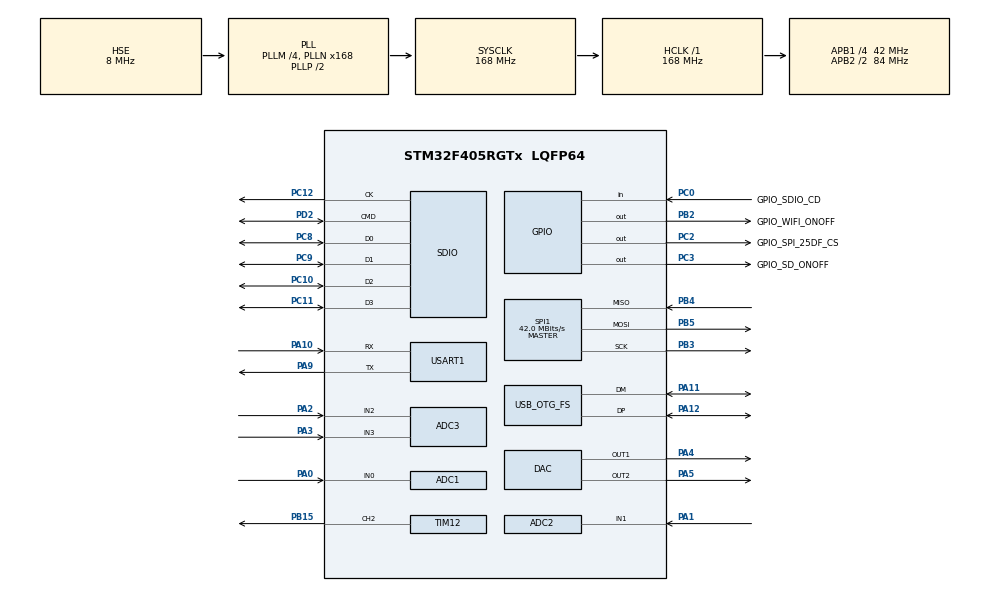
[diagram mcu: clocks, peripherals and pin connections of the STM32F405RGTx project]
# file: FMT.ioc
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ADC1.Channel-0\#ChannelRegularConversion=ADC_CHANNEL_0
ADC1.ClockPrescaler=ADC_CLOCK_SYNC_PCLK_DIV4
ADC1.ContinuousConvMode=DISABLE
ADC1.DMAContinuousRequests=ENABLE
ADC1.DataAlign=ADC_DATAALIGN_RIGHT
ADC1.DiscontinuousConvMode=DISABLE
ADC1.EOCSelection=ADC_EOC_SINGLE_CONV
ADC1.EnableAnalogWatchDog=false
ADC1.ExternalTrigConv=ADC_EXTERNALTRIGCONV_T2_TRGO
ADC1.ExternalTrigConvEdge=ADC_EXTERNALTRIGCONVEDGE_RISING
ADC1.InjNumberOfConversion=0
ADC1.NbrOfConversion=1
ADC1.NbrOfConversionFlag=1
ADC1.Rank-0\#ChannelRegularConversion=1
ADC1.Resolution=ADC_RESOLUTION_12B
ADC1.SamplingTime-0\#ChannelRegularConversion=ADC_SAMPLETIME_3CYCLES
ADC1.ScanConvMode=DISABLE
ADC1.master=1
ADC2.Channel-0\#ChannelRegularConversion=ADC_CHANNEL_1
ADC2.ClockPrescaler=ADC_CLOCK_SYNC_PCLK_DIV4
ADC2.ContinuousConvMode=DISABLE
ADC2.DMAContinuousRequests=ENABLE
ADC2.DataAlign=ADC_DATAALIGN_RIGHT
ADC2.DiscontinuousConvMode=DISABLE
ADC2.EOCSelection=ADC_EOC_SINGLE_CONV
ADC2.EnableAnalogWatchDog=false
ADC2.ExternalTrigConv=ADC_EXTERNALTRIGCONV_T2_TRGO
ADC2.ExternalTrigConvEdge=ADC_EXTERNALTRIGCONVEDGE_RISING
ADC2.InjNumberOfConversion=0
ADC2.NbrOfConversion=1
ADC2.NbrOfConversionFlag=1
ADC2.Rank-0\#ChannelRegularConversion=1
ADC2.Resolution=ADC_RESOLUTION_12B
ADC2.SamplingTime-0\#ChannelRegularConversion=ADC_SAMPLETIME_3CYCLES
ADC2.ScanConvMode=DISABLE
ADC3.Channel-0\#ChannelRegularConversion=ADC_CHANNEL_2
ADC3.ContinuousConvMode=ENABLE
ADC3.DMAContinuousRequests=DISABLE
ADC3.ExternalTrigConvEdge=ADC_EXTERNALTRIGCONVEDGE_NONE
ADC3.NbrOfConversionFlag=1
ADC3.Rank-0\#ChannelRegularConversion=1
ADC3.SamplingTime-0\#ChannelRegularConversion=ADC_SAMPLETIME_3CYCLES
DAC.DAC_OutputBuffer=DAC_OUTPUTBUFFER_ENABLE
DAC.DAC_OutputBuffer2=DAC_OUTPUTBUFFER_ENABLE
Dma.ADC1.0.Direction=DMA_PERIPH_TO_MEMORY
Dma.ADC1.0.FIFOMode=DMA_FIFOMODE_DISABLE
Dma.ADC1.0.Instance=DMA2_Stream0
Dma.ADC1.0.MemDataAlignment=DMA_MDATAALIGN_HALFWORD
Dma.ADC1.0.MemInc=DMA_MINC_ENABLE
Dma.ADC1.0.Mode=DMA_CIRCULAR
Dma.ADC1.0.PeriphDataAlignment=DMA_PDATAALIGN_HALFWORD
Dma.ADC1.0.PeriphInc=DMA_PINC_DISABLE
Dma.ADC1.0.Priority=DMA_PRIORITY_HIGH
Dma.ADC2.1.Direction=DMA_PERIPH_TO_MEMORY
Dma.ADC2.1.FIFOMode=DMA_FIFOMODE_DISABLE
Dma.ADC2.1.Instance=DMA2_Stream2
Dma.ADC2.1.MemDataAlignment=DMA_MDATAALIGN_HALFWORD
Dma.ADC2.1.MemInc=DMA_MINC_ENABLE
Dma.ADC2.1.Mode=DMA_CIRCULAR
Dma.ADC2.1.PeriphDataAlignment=DMA_PDATAALIGN_HALFWORD
Dma.ADC2.1.PeriphInc=DMA_PINC_DISABLE
Dma.ADC2.1.Priority=DMA_PRIORITY_HIGH
Dma.Request0=ADC1
Dma.Request1=ADC2
FATFS._CODE_PAGE=1252
FATFS._FS_NORTC=0
FATFS._MAX_SS=4096
FATFS._USE_FIND=1
FATFS._USE_LFN=1
Mcu.Family=STM32F4
Mcu.Name=STM32F405RGTx
Mcu.Package=LQFP64
NVIC.DMA2_Stream0_IRQn=true\:0\:0\:false\:false\:true
NVIC.DMA2_Stream2_IRQn=true\:0\:0\:false\:false\:true
NVIC.OTG_FS_IRQn=true\:0\:0\:false\:false\:true
NVIC.PriorityGroup=NVIC_PRIORITYGROUP_4
NVIC.USART1_IRQn=true\:0\:0\:false\:false\:true
PA0-WKUP.Signal=ADCx_IN0
PA1.Signal=ADCx_IN1
PA10.Mode=Asynchronous
PA10.Signal=USART1_RX
PA11.Mode=Device_Only
PA11.Signal=USB_OTG_FS_DM
PA12.Mode=Device_Only
PA12.Signal=USB_OTG_FS_DP
PA13.Mode=Serial_Wire
PA13.Signal=SYS_JTMS-SWDIO
PA14.Mode=Serial_Wire
PA14.Signal=SYS_JTCK-SWCLK
PA2.Signal=ADCx_IN2
PA3.Signal=ADCx_IN3
PA4.Signal=COMP_DAC1_group
PA5.Signal=COMP_DAC2_group
PA9.Mode=Asynchronous
PA9.Signal=USART1_TX
PB15.Signal=S_TIM12_CH2
PB2.GPIO_Label=GPIO_WIFI_ONOFF
PB2.GPIO_Speed=GPIO_SPEED_FREQ_VERY_HIGH
PB2.Signal=GPIO_Output
PB3.Mode=Full_Duplex_Master
PB3.Signal=SPI1_SCK
PB4.Mode=Full_Duplex_Master
PB4.Signal=SPI1_MISO
PB5.Mode=Full_Duplex_Master
PB5.Signal=SPI1_MOSI
PC0.GPIO_Label=GPIO_SDIO_CD
PC0.GPIO_PuPd=GPIO_PULLUP
PC0.Signal=GPIO_Input
PC10.Mode=SD_4_bits_Wide_bus
PC10.Signal=SDIO_D2
PC11.Mode=SD_4_bits_Wide_bus
PC11.Signal=SDIO_D3
PC12.Mode=SD_4_bits_Wide_bus
PC12.Signal=SDIO_CK
PC14-OSC32_IN.Mode=LSE-External-Oscillator
PC14-OSC32_IN.Signal=RCC_OSC32_IN
PC15-OSC32_OUT.Mode=LSE-External-Oscillator
PC15-OSC32_OUT.Signal=RCC_OSC32_OUT
PC2.GPIO_Label=GPIO_SPI_25DF_CS
PC2.GPIO_Speed=GPIO_SPEED_FREQ_VERY_HIGH
PC2.PinState=GPIO_PIN_SET
PC2.Signal=GPIO_Output
PC3.GPIO_Label=GPIO_SD_ONOFF
PC3.GPIO_Speed=GPIO_SPEED_FREQ_VERY_HIGH
PC3.PinState=GPIO_PIN_SET
PC3.Signal=GPIO_Output
PC8.Mode=SD_4_bits_Wide_bus
PC8.Signal=SDIO_D0
PC9.Mode=SD_4_bits_Wide_bus
PC9.Signal=SDIO_D1
PD2.Mode=SD_4_bits_Wide_bus
PD2.Signal=SDIO_CMD
PH0-OSC_IN.Mode=HSE-External-Oscillator
PH0-OSC_IN.Signal=RCC_OSC_IN
PH1-OSC_OUT.Mode=HSE-External-Oscillator
PH1-OSC_OUT.Signal=RCC_OSC_OUT
ProjectManager.HeapSize=0x1200
ProjectManager.StackSize=0x1400
ProjectManager.TargetToolchain=EWARM
RCC.48MHZClocksFreq_Value=48000000
RCC.AHBFreq_Value=168000000
RCC.APB1CLKDivider=RCC_HCLK_DIV4
RCC.APB1Freq_Value=42000000
RCC.APB1TimFreq_Value=84000000
RCC.APB2CLKDivider=RCC_HCLK_DIV2
RCC.APB2Freq_Value=84000000
RCC.APB2TimFreq_Value=168000000
RCC.CortexFreq_Value=168000000
RCC.HCLKFreq_Value=168000000
RCC.HSE_VALUE=8000000
RCC.HSI_VALUE=16000000
RCC.PLLM=4
RCC.PLLN=168
RCC.PLLQ=7
RCC.SYSCLKFreq_VALUE=168000000
RCC.SYSCLKSource=RCC_SYSCLKSOURCE_PLLCLK
RCC.VCOOutputFreq_Value=336000000
RTC.Format=RTC_FORMAT_BCD
RTC.Month=RTC_MONTH_DECEMBER
RTC.Year=16
SDIO.BusWide=SDIO_BUS_WIDE_1B
SDIO.ClockDiv=2
SDIO.WideMode=SDIO_BUS_WIDE_4B
SH.ADCx_IN0.0=ADC1_IN0,IN0
SH.ADCx_IN1.0=ADC2_IN1,IN1
SH.ADCx_IN2.0=ADC3_IN2,IN2
SH.ADCx_IN3.0=ADC3_IN3,IN3
SH.COMP_DAC1_group.0=DAC_OUT1,DAC_OUT1
SH.COMP_DAC2_group.0=DAC_OUT2,DAC_OUT2
SH.S_TIM12_CH2.0=TIM12_CH2,PWM Generation2 CH2
SPI1.CalculateBaudRate=42.0 MBits/s
SPI1.Mode=SPI_MODE_MASTER
TIM12.Channel-PWM\ Generation2\ CH2=TIM_CHANNEL_2
TIM12.Period=100
TIM12.Prescaler=839
TIM12.Pulse-PWM\ Generation2\ CH2=25
TIM2.Period=10000
TIM2.Prescaler=16800
TIM2.TIM_MasterOutputTrigger=TIM_TRGO_UPDATE
TIM2.TIM_MasterSlaveMode=TIM_MASTERSLAVEMODE_DISABLE
USB_DEVICE.CLASS_NAME-CDC_FS=CDC
USB_DEVICE.CLASS_NAME_FS=CDC
USB_DEVICE.MANUFACTURER_STRING-CDC_FS=iv trigotoram
USB_DEVICE.PRODUCT_STRING_CDC_FS=FMTdev
USB_DEVICE.SERIALNUMBER_STRING_CDC_FS=00000000001B
USB_DEVICE.USBD_HandleTypeDef-CDC_FS=hUsbDeviceFS
USB_DEVICE.VirtualMode-CDC_FS=Cdc
USB_DEVICE.VirtualModeFS=Cdc_FS
USB_OTG_FS.VirtualMode=Device_Only
USB_OTG_FS.vbus_sensing_enable=DISABLE
VP_CRC_VS_CRC.Mode=CRC_Activate
VP_FATFS_VS_SDIO.Mode=SDIO
VP_RTC_VS_RTC_Activate.Mode=RTC_Enabled
VP_RTC_VS_RTC_Alarm_A_Intern.Mode=Alarm A
VP_RTC_VS_RTC_Calendar.Mode=RTC_Calendar
VP_TIM12_VS_ClockSourceINT.Mode=Internal
VP_TIM2_VS_ClockSourceINT.Mode=Internal
VP_USB_DEVICE_VS_USB_DEVICE_CDC_FS.Mode=CDC_FS
board=FMT

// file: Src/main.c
/**
  ******************************************************************************
  * File Name          : main.c
  * Description        : Main program body
  ******************************************************************************
  *
  * Copyright (c) 2016 STMicroelectronics International N.V.
  * All rights reserved.
  *
  * Redistribution and use in source and binary forms, with or without
  * modification, are permitted, provided that the following conditions are met:
  *
  * 1. Redistribution of source code must retain the above copyright notice,
  *    this list of conditions and the following disclaimer.
  * 2. Redistributions in binary form must reproduce the above copyright notice,
  *    this list of conditions and the following disclaimer in the documentation
  *    and/or other materials provided with the distribution.
  * 3. Neither the name of STMicroelectronics nor the names of other
  *    contributors to this software may be used to endorse or promote products
  *    derived from this software without specific written permission.
  * 4. This software, including modifications and/or derivative works of this
  *    software, must execute solely and exclusively on microcontroller or
  *    microprocessor devices manufactured by or for STMicroelectronics.
  * 5. Redistribution and use of this software other than as permitted under
  *    this license is void and will automatically terminate your rights under
  *    this license.
  *
  * THIS SOFTWARE IS PROVIDED BY STMICROELECTRONICS AND CONTRIBUTORS "AS IS"
  * AND ANY EXPRESS, IMPLIED OR STATUTORY WARRANTIES, INCLUDING, BUT NOT
  * LIMITED TO, THE IMPLIED WARRANTIES OF MERCHANTABILITY, FITNESS FOR A
  * PARTICULAR PURPOSE AND NON-INFRINGEMENT OF THIRD PARTY INTELLECTUAL PROPERTY
  * RIGHTS ARE DISCLAIMED TO THE FULLEST EXTENT PERMITTED BY LAW. IN NO EVENT
  * SHALL STMICROELECTRONICS OR CONTRIBUTORS BE LIABLE FOR ANY DIRECT, INDIRECT,
  * INCIDENTAL, SPECIAL, EXEMPLARY, OR CONSEQUENTIAL DAMAGES (INCLUDING, BUT NOT
  * LIMITED TO, PROCUREMENT OF SUBSTITUTE GOODS OR SERVICES; LOSS OF USE, DATA,
  * OR PROFITS; OR BUSINESS INTERRUPTION) HOWEVER CAUSED AND ON ANY THEORY OF
  * LIABILITY, WHETHER IN CONTRACT, STRICT LIABILITY, OR TORT (INCLUDING
  * NEGLIGENCE OR OTHERWISE) ARISING IN ANY WAY OUT OF THE USE OF THIS SOFTWARE,
  * EVEN IF ADVISED OF THE POSSIBILITY OF SUCH DAMAGE.
  *
  ******************************************************************************
  */
#include "main.h"
#include "stm32f4xx_hal.h"
#include "fatfs.h"
#include "usb_device.h"

/* USER CODE BEGIN Includes */
#include "board.h"
#include "xprintf.h"
#include "conv.h"
#include "debug.h"
#include "ff.h"
FIL file_test;
FRESULT result;
FATFS FATFS_obj;
uint32_t str_size;
static const char file_name [] = "ADC_RAW_DATA.bin";
char _str [256];
char ch [256];
uint32_t tmpu32 = 0;
uint16_t tmpu16;

uint32_t test_core_ticks_new, test_core_ticks_old = 0;
uint32_t test_total_time_remain = 0;

UINT frcnt, fwcnt;         // счетчик записи файла
uint32_t ready_to_close = 0;
//#define show_message(a,b)

#include "modParser.h"
#include "_FIFO.h"

volatile static const uint16_t compile_date []    = { 2016, 12, 11 };
volatile static const uint16_t compile_version [] = { 8 };
volatile static const uint16_t firmware_date []   = { 2016, 12, 11 };

uint8_t tmpchar;
uint8_t respBuf [PARSER_MAX_DATA_SIZE];
uint8_t IOBuf [PARSER_MAX_DATA_SIZE];
uint8_t size8;

/* USER CODE END Includes */

ADC_HandleTypeDef hadc1;
ADC_HandleTypeDef hadc2;
ADC_HandleTypeDef hadc3;
DMA_HandleTypeDef hdma_adc1;
DMA_HandleTypeDef hdma_adc2;

CRC_HandleTypeDef hcrc;

DAC_HandleTypeDef hdac;

RTC_HandleTypeDef hrtc;

SD_HandleTypeDef hsd;
HAL_SD_CardInfoTypedef SDCardInfo;

SPI_HandleTypeDef hspi1;

TIM_HandleTypeDef htim2;
TIM_HandleTypeDef htim12;

UART_HandleTypeDef huart1;

/* USER CODE BEGIN PV */
/* Private variables ---------------------------------------------------------*/

/* USER CODE END PV */

void SystemClock_Config(void);
void Error_Handler(void);
static void MX_GPIO_Init(void);
static void MX_DMA_Init(void);
static void MX_ADC1_Init(void);
static void MX_ADC2_Init(void);
static void MX_ADC3_Init(void);
static void MX_CRC_Init(void);
static void MX_DAC_Init(void);
static void MX_SDIO_SD_Init(void);
static void MX_SPI1_Init(void);
static void MX_USART1_UART_Init(void);
static void MX_TIM2_Init(void);
static void MX_RTC_Init(void);
static void MX_TIM12_Init(void);

void HAL_TIM_MspPostInit(TIM_HandleTypeDef *htim);

/* USER CODE BEGIN PFP */
/* Private function prototypes -----------------------------------------------*/

/* USER CODE END PFP */

/* USER CODE BEGIN 0 */
uint32_t USB_error_cnt;
uint8_t show_message (char *buf)
{
    uint32_t test_cnt = 0;
    uint16_t size;

    size = _strlen (buf);
    //memcpy ((void *)_str, buf, size);
    strcat ((char *)buf, "\r\n");
    size += 2;
    if (HAL_OK != HAL_UART_Transmit_IT (&huart1, (uint8_t *)&buf[0], size))
    {
        //do nothing
    }
    else
    {
repeat: //TODO
        if (USBD_OK != CDC_Transmit_FS((uint8_t *)&buf[0], size))
        {
            USB_error_cnt++;
            if (++test_cnt >= 10)
            {
                return 1;
            }
            else
            {
                HAL_Delay (1); //~10ms
                goto repeat;
            }
        }
        else
        {
            return 0;
        }
    }
}

uint8_t show_message_c (const char *str)
{
#if _DEBUG
    xsprintf (_str, "%s", str);
    show_message (_str);
#endif
}

// CONF --------------------------------
typedef struct FMT_t_ {
    uint8_t  ADC_mode; //TODO
    uint32_t ADC_period;
    uint32_t ADC_collect_size;
    bool_t ADC_flag_ready;

    uint32_t cnt_wr;
    uint32_t cnt_rd;

    uint32_t cnt_error_wr ;

    uint32_t cnt_error_ALL ;
    bool_t file_opened;

} FMT_t;

FMT_t FMT;

static FIFO_t FIFO_UART_RX; //TODO malloc
#define FIFO_UART_RX_SIZE          256 /*** Must be a power of 2 (2,4,8,16,32,64,128,256,512,...) ***/
static uint8_t FIFO_UART_RX_buf [FIFO_UART_RX_SIZE];

static FIFO_t FIFO_ADC; //TODO malloc
#define FIFO_ADC_SIZE              4096 /*** Must be a power of 2 (2,4,8,16,32,64,128,256,512,...) ***/
static uint8_t FIFO_ADC_buf [FIFO_ADC_SIZE];

#define ADC_BUF_SIZE                4
//#define ADC_DATA_COLLECT            1000000 // all data = ADC_BUF_SIZE * ADC_DATA_COLLECT

#pragma pack(push, 1) //for pucked data structures
struct parser_data_t {
    uint8_t     start; // позиция внутреннего автомата, не трогать
    uint8_t     adress; // адрес, на который нужно ответить
    uint8_t     reciv_cnt;
    uint16_t    adc1_value_out [ADC_BUF_SIZE];
    uint16_t    adc2_value_out [ADC_BUF_SIZE];
    //uint32_t     timer;
    uint32_t    cnt;
    uint16_t    crc;
    uint8_t     end;
} parser_data;
#pragma pack(pop)

#define ADC_BUF_ALL_SIZE (ADC_BUF_SIZE * 2 )
#define PARSER_OUT_SIZE     (10 + ADC_BUF_ALL_SIZE) //size our packet

__IO uint16_t ADC3_buf [ADC_BUF_SIZE];
uint16_t ADC3_pointer = 0;

enum { ADC_BUFFER_LENGTH = 10 };
uint32_t g_ADCBuffer [ADC_BUFFER_LENGTH];
uint16_t g_ADCValue;
uint32_t g_MeasurementNumber = 0;

void HAL_ADC_ConvCpltCallback (ADC_HandleTypeDef* hadc) //TODO check that adc1 first!!!
{
    if (hadc->Instance == ADC1)
    {
        /*
        for (i = 0; i < ADC_BUFFER_LENGTH; i++)
        {
            tmp32 += ADC1_buf [i];
        }
        parser_data.adc_value_out [0] =  tmp32 / ADC_BUF_SIZE; //std::accumulate(g_ADCBuffer, g_ADCBuffer + ADC_BUFFER_LENGTH, 0) / ADC_BUFFER_LENGTH;
        //g_MeasurementNumber += 1;//ADC_BUFFER_LENGTH;
       */
        /*
        for (i = 0; i < ADC_BUFFER_LENGTH; i++)
        {
            parser_data.adc_value_out [0 + i] = ADC1_buf [i];
        }
        */
    }

    if (hadc->Instance == ADC2)
    {
        /*
        for (i = 0; i < ADC_BUFFER_LENGTH; i++)
        {
            parser_data.adc_value_out [10 + i] = ADC2_buf [i];
        }
        */
        //g_MeasurementNumber += 1;
        //parser_data.cnt = g_MeasurementNumber;

        //crc...

        //if (USBD_OK != CDC_Transmit_FS ((uint8_t *)&parser_data, PARSER_OUT_SIZE))
        {
        }

        if (FMT.ADC_flag_ready == TRUE)
        {
            FMT.cnt_wr++;
            if (TRUE != FIFO_puts (&FIFO_ADC, (uint8_t *)&parser_data.adc1_value_out [0], ADC_BUF_ALL_SIZE))
            {
                FMT.cnt_error_wr++;
            }
            if (FMT.cnt_wr >= (FMT.ADC_collect_size + 1)) //ТОМУ ЩО
            {
                HAL_TIM_Base_Stop (&htim2);
            }
        }
    }
}

typedef enum {
    FMT_CMD_TEST                    = 'T',
    FMT_CMD_GET_DEV_ID              = 'I',
    FMT_CMD_GET_FIRMWARE_VER        = 'V',

    FMT_CMD_ADC_GET_VBAT            = 'B', //2,3 - number channel

    FMT_CMD_DAC_SET_CHANNEL_VALUE   = 'D', //1,2 - number channel

    FMT_CMD_FAT_RESET               = 'R',

    FMT_CMD_ADC_START               = '1',
    FMT_CMD_ADC_SET_PERIOD          = 'P',
    FMT_CMD_ADC_SET_BUF_SIZE        = 'S',
    FMT_CMD_ADC_STOP                = '2',

    FMT_CMD_FAT_GET                 = 'G',

} FMT_CMD;

parser_t parser;

__IO ITStatus UartReady = RESET;
/* Buffer used for reception */
uint8_t aRxBuffer [128];

void HAL_UART_TxCpltCallback (UART_HandleTypeDef *UartHandle)
{
  /* Set transmission flag: transfer complete */
    UartReady = SET;
}

/**
  * @brief  Rx Transfer completed callback
  * @param  UartHandle: UART handle
  * @note   This example shows a simple way to report end of DMA Rx transfer, and
  *         you can add your own implementation.
  * @retval None
  */
void HAL_UART_RxCpltCallback (UART_HandleTypeDef *UartHandle)
{
    /* Set transmission flag: transfer complete */
    FIFO_put (&FIFO_UART_RX, aRxBuffer [0]);
    UartReady = SET;
    if (HAL_UART_Receive_IT (&huart1, (uint8_t *)aRxBuffer, 1) != HAL_OK)
    {
        Error_Handler();
    }
}

/**
  * @brief  UART error callbacks
  * @param  UartHandle: UART handle
  * @note   This example shows a simple way to report transfer error, and you can
  *         add your own implementation.
  * @retval None
  */
void HAL_UART_ErrorCallback (UART_HandleTypeDef *UartHandle)
{
  /* Turn LED_ORANGE on: Transfer error in reception/transmission process */
  //BSP_LED_On(LED_ORANGE);
  //Error_Handler();
}

static uint32_t *UID = (uint32_t *)0x1FFF7A10; // 0x1FFFF7E8 for STM32F100

// for drvSPIFLASH -----------------------------------------
void halSPIFLASH_GPIO_SPI_init (void) //already init ready
{
    __HAL_SPI_ENABLE (&hspi1);
}

uint8_t halSPIFLASH_xspi (uint8_t byte)
{
    while (0 == (SPI1->SR & SPI_SR_TXE)) {};
    SPI1->DR = byte;
    while (!(SPI1->SR & SPI_SR_RXNE)) {};
    return SPI1->DR;
}

void drvBUZZER_on (void)
{
    if (HAL_TIM_PWM_Start (&htim12, TIM_CHANNEL_2) != HAL_OK)
    {
    }
}

void drvBUZZER_off (void)
{
    if (HAL_TIM_PWM_Stop (&htim12, TIM_CHANNEL_2) != HAL_OK)
    {
    }
}

void drvBUZZER_peep (uint8_t i)
{
    while (i)
    {
        drvBUZZER_on (); //end init pika
        HAL_Delay (40);
        drvBUZZER_off ();
        HAL_Delay (90);
        i--;
    }
}

void FAT_reinit (void)
{
    // CD card off-on!
    HAL_GPIO_WritePin (GPIOC, GPIO_SD_ONOFF_Pin, GPIO_PIN_SET);
    HAL_Delay (200); // ~300ms
    HAL_GPIO_WritePin (GPIOC, GPIO_SD_ONOFF_Pin, GPIO_PIN_RESET);

    result = f_mount (&FATFS_obj, "0", 1);
    if ((FR_NOT_READY == result) ||
        (FR_DISK_ERR == result) ||
        (FR_INVALID_DRIVE == result))
    {
        show_message_c ("   SD/FAT init ERROR");
        drvBUZZER_peep (1);
    }
    else
    {

    }

    tmpu32 = 0;
    if (1 == tmpu32)
    {
        result = f_mkfs ("0", 0, 512);
        if (FR_OK != result)
        {
            show_message_c ("SD/FAT mount disk");
        }
        else
        {
            show_message_c ("make FAT error");
            drvBUZZER_peep (2);
        }
    }
    /*
    if (FR_NO_FILESYSTEM == result)
    {
        result = f_mkfs ("0", 0, 512);
        if (FR_OK != result)
        {

        }
    }
    */

    if (FR_OK == result)
    {
        show_message_c ("   SD/FAT init OK");
        //...
    }

    FMT.file_opened = FALSE;
}

void ADC_init (void)
{

    //TIM_ClockConfigTypeDef sClockSourceConfig;
    //TIM_MasterConfigTypeDef sMasterConfig;
    htim2.Instance = TIM2;
    htim2.Init.Prescaler = 168 -1;
    htim2.Init.CounterMode = TIM_COUNTERMODE_UP;
    htim2.Init.Period = FMT.ADC_period;
    htim2.Init.ClockDivision = TIM_CLOCKDIVISION_DIV1;
    if (HAL_TIM_Base_Init (&htim2) != HAL_OK)
    {
        Error_Handler();
    }

    // step (1) - start TIMER
    HAL_TIM_Base_Start (&htim2);

    // step (2) - start ADC
    if (HAL_ADC_Start_DMA (&hadc1,
        (uint32_t *)&parser_data.adc1_value_out [0],
        ADC_BUF_SIZE) != HAL_OK)
    {
    }

    if (HAL_ADC_Start_DMA (&hadc2,
        (uint32_t *)&parser_data.adc2_value_out [0],
        ADC_BUF_SIZE) != HAL_OK)
    {
    }

    FMT.cnt_error_ALL = 0;
    FMT.cnt_error_wr = 0;
    FMT.cnt_wr = 0;
}

/* USER CODE END 0 */

int main(void)
{

  /* MCU Configuration----------------------------------------------------------*/

  /* Reset of all peripherals, Initializes the Flash interface and the Systick. */
  HAL_Init();

  /* Configure the system clock */
  SystemClock_Config();

  /* Initialize all configured peripherals */
  MX_GPIO_Init();
  MX_DMA_Init();
  MX_ADC1_Init();
  MX_ADC2_Init();
  MX_ADC3_Init();
  MX_CRC_Init();
  MX_DAC_Init();
  MX_SDIO_SD_Init();
  MX_SPI1_Init();
  MX_USART1_UART_Init();
  MX_USB_DEVICE_Init();
  MX_TIM2_Init();
  MX_FATFS_Init();
  MX_RTC_Init();
  MX_TIM12_Init();

  /* USER CODE BEGIN 2 */
    _debug_init ();
    __enable_irq (); // enable interrupts!!!

    if (HAL_UART_Transmit_IT (&huart1, (uint8_t *)"\r\n\r\nInit start...\r\n", 19)!= HAL_OK)
    {
        Error_Handler();
    }

    if (HAL_UART_Receive_IT (&huart1, (uint8_t *)aRxBuffer, 1) != HAL_OK)
    {
        Error_Handler();
    }

    drvSPIFLASH_init (0);

    // init CDC out struct
    parser_data.start = PIK_START;
    parser_data.reciv_cnt = 8;
    parser_data.crc = 0x4545;
    parser_data.end = PIK_FIN;

    modParser_init (&parser, '#'); //'#' - address
    modParser_reset (&parser);

    //TODO check init
    FIFO_init (&FIFO_UART_RX, &FIFO_UART_RX_buf[0], FIFO_UART_RX_SIZE);
    FIFO_flush (&FIFO_UART_RX);

    FIFO_init (&FIFO_ADC, &FIFO_ADC_buf[0], FIFO_ADC_SIZE);
    FIFO_flush (&FIFO_ADC);

    FMT.ADC_mode = 0; //TODO
    FMT.ADC_collect_size = 10000;
    FMT.ADC_period   = 1000;
    FMT.ADC_flag_ready = FALSE;
    FMT.file_opened = FALSE;
    ADC_init ();

    //DAC on
    HAL_DAC_SetValue (&hdac, DAC_CHANNEL_1, DAC_ALIGN_12B_R, 0);
    HAL_DAC_SetValue (&hdac, DAC_CHANNEL_2, DAC_ALIGN_12B_R, 0);
    uint32_t DACcnt = 0;
    if (HAL_DAC_Start (&hdac, DAC_CHANNEL_1) != HAL_OK)
    {
    }
    if (HAL_DAC_Start (&hdac, DAC_CHANNEL_2) != HAL_OK)
    {
    }

    HAL_Delay (500); //for init SD-CARD and not often mount\open\etc

    // CD card on!
    FAT_reinit ();

    test_core_ticks_new = 0;
    test_core_ticks_old = 0;

    drvBUZZER_peep (1); //end init OK - 1 peep
    show_message_c ("Init complite");
    show_message_c ("---------------------------------------------");
    while (1)
    {
        RESET_CORE_COUNT;

        // 0A 23 09 47 00 00 01 00 30 30 30 30 35 35 0D
        if (TRUE == FIFO_gets (&FIFO_UART_RX, &tmpchar, 1))
        {
            if (FUNCTION_RETURN_OK == modParser_reciv (&parser, tmpchar, &IOBuf[0], &size8))
            {
                uint32_t digit_uint32 = (uint32_t)(IOBuf [1] << 24 | IOBuf [2] << 16 | IOBuf [3] << 8 | IOBuf [4]);
                switch (IOBuf [0]) // parsing command
                {
                case FMT_CMD_TEST: //T
                    size8 = xsprintf (_str, "[%u.%u]%u ", HAL_GetTick (), test_core_ticks_old);
                    break;

                case FMT_CMD_GET_DEV_ID: //I
                    size8 = xsprintf (_str, "ID:0x%08X%08X%08X ", UID [0], UID [1], UID [2]);
                    break;

                case FMT_CMD_GET_FIRMWARE_VER: //V
                    size8 = xsprintf (_str, "date %u.%u.%u v[%u] ", compile_date [0], compile_date [1], compile_date [2], compile_version [0]);
                    break;

                case FMT_CMD_ADC_GET_VBAT: //B2(3)
                    ADC_ChannelConfTypeDef sConfig;
                    if ('2' == IOBuf [1])
                    {
                        sConfig.Channel = ADC_CHANNEL_2;
                        sConfig.Rank = 1;
                        sConfig.SamplingTime = ADC_SAMPLETIME_3CYCLES;
                        if (HAL_ADC_ConfigChannel (&hadc3, &sConfig) != HAL_OK)
                        {
                            Error_Handler();
                        }
                        HAL_ADC_Start (&hadc3);
                        HAL_ADC_PollForConversion (&hadc3, 1000);
                        if (++ADC3_pointer >= ADC_BUF_SIZE)
                        {
                            ADC3_pointer = 0;
                        }
                        tmpu16 = HAL_ADC_GetValue (&hadc3);
                        //ADC3_buf [ADC3_pointer] = tmpu16;
                        size8 = xsprintf (_str, "ADC3 ch%c :%u", IOBuf [1], tmpu16);
                    }
                    else if ('3' == IOBuf [1])
                    {
                        sConfig.Channel = ADC_CHANNEL_3;
                        sConfig.Rank = 1;
                        sConfig.SamplingTime = ADC_SAMPLETIME_3CYCLES;
                        if (HAL_ADC_ConfigChannel (&hadc3, &sConfig) != HAL_OK)
                        {
                            Error_Handler();
                        }
                        HAL_ADC_Start (&hadc3);
                        HAL_ADC_PollForConversion (&hadc3, 1000);
                        if (++ADC3_pointer >= ADC_BUF_SIZE)
                        {
                            ADC3_pointer = 0;
                        }
                        tmpu16 = HAL_ADC_GetValue (&hadc3);
                        //ADC3_buf [ADC3_pointer] = tmpu16;
                        size8 = xsprintf (_str, "ADC3 ch%c :%u", IOBuf [1], tmpu16);
                    }
                    else
                    {
                        size8 = xsprintf (_str, "ADC3 channel error!");
                        drvBUZZER_peep (1);
                    }
                    break;

                case FMT_CMD_DAC_SET_CHANNEL_VALUE: //D1(2)
                    if ('1' == IOBuf [1])
                    {
                        HAL_DAC_SetValue (&hdac, DAC_CHANNEL_1, DAC_ALIGN_12B_R, (uint16_t)(IOBuf [2] << 8) | IOBuf [3]);
                        size8 = xsprintf (_str, "DAC 1 OK ");
                    }
                    else if ('2' == IOBuf [1])
                    {
                        HAL_DAC_SetValue (&hdac, DAC_CHANNEL_2, DAC_ALIGN_12B_R, (uint16_t)(IOBuf [2] << 8) | IOBuf [3]);
                        size8 = xsprintf (_str, "DAC 2 OK ");
                    }
                    else
                    {
                        size8 = xsprintf (_str, "DAC channel error!");
                        drvBUZZER_peep (1);
                    }
                    break;

                case FMT_CMD_ADC_SET_PERIOD: //Pxxxx
                    FMT.ADC_period = digit_uint32;
                    size8 = xsprintf (_str, "Period OK - %u ", FMT.ADC_period);
                    break;

                case FMT_CMD_ADC_SET_BUF_SIZE: //Sxxxx
                    FMT.ADC_collect_size = digit_uint32;
                    size8 = xsprintf (_str, "ADC size OK - %u ", FMT.ADC_collect_size);
                    break;

                case FMT_CMD_FAT_RESET: //R
                    FAT_reinit ();
                    break;

                case FMT_CMD_ADC_START: //1 - start collect adc data
                    result = f_open (&file_test, file_name, FA_WRITE);
                    if (FR_OK != result)
                    {
                        result = f_open (&file_test, file_name, FA_CREATE_ALWAYS | FA_WRITE);
                        if (FR_OK != result)
                        {
                            show_message_c ("FAT file fist creating error!");
                            drvBUZZER_peep (3);
                            //while (1) ;
                        }
                        else
                        {
                            show_message_c ("FAT file fist creating");
                        }
                    }
                    show_message_c ("FAT file open OK");
                    //...

                    result = f_lseek (&file_test, 0);
                    if (FR_OK != result)
                    {
                        show_message_c ("FAT seek ERROR");
                        //while (1) {};
                    }
                    else
                    {
                        show_message_c ("FAT seek OK");
                        test_total_time_remain = HAL_GetTick ();
                        xsprintf (_str, "[%u.%u] START ADC COLLECT DATA", test_total_time_remain, SysTick->VAL);
                        show_message (_str);
                        ADC_init ();
                        FMT.ADC_flag_ready = TRUE; //START!!!!
                        uint32_t delay_blink = HAL_GetTick();
                        while (1)
                        {
                            if ((HAL_GetTick() - delay_blink) >= 1000) //status output
                            {
                                delay_blink = HAL_GetTick();
                                if (FALSE != FMT.ADC_flag_ready)
                                {
                                    xsprintf (_str, "%u0 * 2 collect...", FMT.cnt_wr);
                                    show_message (_str);
                                }
                            }
                            if (TRUE == FIFO_gets (&FIFO_ADC, (uint8_t *)_str, ADC_BUF_ALL_SIZE))
                            {
                                FMT.cnt_rd++;
                                result = f_write (&file_test, (uint8_t *)&_str[0], ADC_BUF_ALL_SIZE, &fwcnt); // Запись куска в файл
                                if ((FR_OK != result) || (fwcnt < str_size)) //ошибка, если диск переполнен
                                {
                                    show_message_c ("FAT file write ERROR");
                                    result = f_close (&file_test); //Update file size in here
                                    if (result != FR_OK)
                                    {
                                        show_message_c ("FILE file close ERROR");
                                    }
                                    while (1) {};
                                }
                                if (FMT.cnt_wr >= (FMT.ADC_collect_size + 1)) //ТОМУ ЩО
                                {
                                    result = f_close (&file_test); //Update file size in here
                                    if (result != FR_OK)
                                    {
                                        show_message_c ("FILE close ERROR");
                                    }
                                    xsprintf (_str, "[%u.%u] ADC END COLLECT %u DATA", HAL_GetTick () - test_total_time_remain, SysTick->VAL, (FMT.cnt_wr - 1));
                                    show_message (_str);
                                    FMT.ADC_flag_ready = FALSE;
                                    drvBUZZER_peep (1);
                                    break; //while (1) {};
                                }
                            }
                        };
                        /*
                        str_size = 4;//xsprintf (_str, file_kml_head);
                        result = f_write (&fileKML, _str, str_size, &fwcnt); // Запись куска в файл
                        if ((FR_OK != result) || (fwcnt < str_size)) //ошибка, если диск переполнен
                        {
                            show_message ("FILE wr ERROR", 24);
                            while (1) {};
                        }
                        else
                        {
                            // emergency out!!!
                            break;
                        }
                        */
                    } //else
                    size8 = xsprintf (_str, "ADC collect data ready!:%u ", tmpu16);
                    break;

                case FMT_CMD_ADC_STOP: //2 - stop collect adc data
                    //ADC_deinit ();
                    HAL_TIM_Base_Stop (&htim2);
                    FMT.ADC_flag_ready = FALSE; //START!!!!

                    result = f_close (&file_test); //Update file size in here
                    if (result != FR_OK)
                    {
                        show_message_c ("FAT file close ERROR");
                    }
                    xsprintf (_str, "[%u.%u] ADC END COLLECT %u DATA", HAL_GetTick () - test_total_time_remain, SysTick->VAL, (FMT.cnt_wr - 1));
                    show_message_c (_str);

                    drvBUZZER_peep (1);

                    size8 = xsprintf (_str, "ADC collect stop!");
                    break;

                case FMT_CMD_FAT_GET: //Gxxxx - return 64bytes
                    if (FALSE == FMT.file_opened)
                    {
                        result = f_open (&file_test, file_name, FA_READ);
                        if (FR_OK != result)
                        {
                            show_message_c ("   SD/FAT file fist open error!");
                            drvBUZZER_peep (3);
                            //while (1) ;
                        }
                        else
                        {
                            show_message_c ("FAT file open OK");
                            FMT.file_opened = TRUE;
                        }
                    }
                    //...

                    result = f_lseek (&file_test, digit_uint32);
                    if (FR_OK != result)
                    {
                        show_message_c ("FAT seek ERROR");
                        //while (1) {};
                    }

                    result = f_read (&file_test, (uint8_t *)&ch[0], 64, &frcnt);
                    if ((FR_OK != result) || (frcnt < str_size))
                    {
                    }
                    else
                    {
                        xsprintf (_str, "GET :%64s", &ch[0]);
                        show_message_c (_str);
                    }
                    break;

                default:
                    size8 = xsprintf (_str, "ERROR UNKNOWN!");
                    break;
                } // switch (IOBuf [0]) // parsing command

                // create respond
                modParser_transmit (&parser, (uint8_t *)_str, size8, &IOBuf [0], &size8);
                //respond
                if (HAL_UART_Transmit_IT (&huart1, &IOBuf[0], size8)!= HAL_OK)
                {
                    Error_Handler();
                }
            }//if (HAL_OK != HAL_UART_Transmit (&huart1, (uint8_t *)&buf[0], size, 0xFFFF))
        }

        test_core_ticks_new = GET_CORE_COUNT;
        if (test_core_ticks_new > test_core_ticks_old)
        {
            test_core_ticks_old = test_core_ticks_new;
        }

        //so slow funktions
        /*
        xsprintf (_str, "[%u.%u] CNT:%u", HAL_GetTick (), SysTick->VAL);
        show_message (_str);
		HAL_Delay (3000);
        */
    }

    while (1)
    {

	} //while (1)
  /* USER CODE END 2 */

  /* Infinite loop */
  while (1)
  {

  }

}

/** System Clock Configuration
*/
void SystemClock_Config(void)
{

  RCC_OscInitTypeDef RCC_OscInitStruct;
  RCC_ClkInitTypeDef RCC_ClkInitStruct;
  RCC_PeriphCLKInitTypeDef PeriphClkInitStruct;

    /**Configure the main internal regulator output voltage
    */
  __HAL_RCC_PWR_CLK_ENABLE();

  __HAL_PWR_VOLTAGESCALING_CONFIG(PWR_REGULATOR_VOLTAGE_SCALE1);

    /**Initializes the CPU, AHB and APB busses clocks
    */
  RCC_OscInitStruct.OscillatorType = RCC_OSCILLATORTYPE_LSI|RCC_OSCILLATORTYPE_HSE;
  RCC_OscInitStruct.HSEState = RCC_HSE_ON;
  RCC_OscInitStruct.LSIState = RCC_LSI_ON;
  RCC_OscInitStruct.PLL.PLLState = RCC_PLL_ON;
  RCC_OscInitStruct.PLL.PLLSource = RCC_PLLSOURCE_HSE;
  RCC_OscInitStruct.PLL.PLLM = 4;
  RCC_OscInitStruct.PLL.PLLN = 168;
  RCC_OscInitStruct.PLL.PLLP = RCC_PLLP_DIV2;
  RCC_OscInitStruct.PLL.PLLQ = 7;
  if (HAL_RCC_OscConfig(&RCC_OscInitStruct) != HAL_OK)
  {
    Error_Handler();
  }

    /**Initializes the CPU, AHB and APB busses clocks
    */
  RCC_ClkInitStruct.ClockType = RCC_CLOCKTYPE_HCLK|RCC_CLOCKTYPE_SYSCLK
                              |RCC_CLOCKTYPE_PCLK1|RCC_CLOCKTYPE_PCLK2;
  RCC_ClkInitStruct.SYSCLKSource = RCC_SYSCLKSOURCE_PLLCLK;
  RCC_ClkInitStruct.AHBCLKDivider = RCC_SYSCLK_DIV1;
  RCC_ClkInitStruct.APB1CLKDivider = RCC_HCLK_DIV4;
  RCC_ClkInitStruct.APB2CLKDivider = RCC_HCLK_DIV2;

  if (HAL_RCC_ClockConfig(&RCC_ClkInitStruct, FLASH_LATENCY_5) != HAL_OK)
  {
    Error_Handler();
  }

  PeriphClkInitStruct.PeriphClockSelection = RCC_PERIPHCLK_RTC;
  PeriphClkInitStruct.RTCClockSelection = RCC_RTCCLKSOURCE_LSI;
  if (HAL_RCCEx_PeriphCLKConfig(&PeriphClkInitStruct) != HAL_OK)
  {
    Error_Handler();
  }

    /**Configure the Systick interrupt time
    */
  HAL_SYSTICK_Config(HAL_RCC_GetHCLKFreq()/1000);

    /**Configure the Systick
    */
  HAL_SYSTICK_CLKSourceConfig(SYSTICK_CLKSOURCE_HCLK);

  /* SysTick_IRQn interrupt configuration */
  HAL_NVIC_SetPriority(SysTick_IRQn, 0, 0);
}

/* ADC1 init function */
static void MX_ADC1_Init(void)
{

  ADC_ChannelConfTypeDef sConfig;

    /**Configure the global features of the ADC (Clock, Resolution, Data Alignment and number of conversion)
    */
  hadc1.Instance = ADC1;
  hadc1.Init.ClockPrescaler = ADC_CLOCK_SYNC_PCLK_DIV4;
  hadc1.Init.Resolution = ADC_RESOLUTION_12B;
  hadc1.Init.ScanConvMode = DISABLE;
  hadc1.Init.ContinuousConvMode = DISABLE;
  hadc1.Init.DiscontinuousConvMode = DISABLE;
  hadc1.Init.ExternalTrigConvEdge = ADC_EXTERNALTRIGCONVEDGE_RISING;
  hadc1.Init.ExternalTrigConv = ADC_EXTERNALTRIGCONV_T2_TRGO;
  hadc1.Init.DataAlign = ADC_DATAALIGN_RIGHT;
  hadc1.Init.NbrOfConversion = 1;
  hadc1.Init.DMAContinuousRequests = ENABLE;
  hadc1.Init.EOCSelection = ADC_EOC_SINGLE_CONV;
  if (HAL_ADC_Init(&hadc1) != HAL_OK)
  {
    Error_Handler();
  }

    /**Configure for the selected ADC regular channel its corresponding rank in the sequencer and its sample time.
    */
  sConfig.Channel = ADC_CHANNEL_0;
  sConfig.Rank = 1;
  sConfig.SamplingTime = ADC_SAMPLETIME_3CYCLES;
  if (HAL_ADC_ConfigChannel(&hadc1, &sConfig) != HAL_OK)
  {
    Error_Handler();
  }

}

/* ADC2 init function */
static void MX_ADC2_Init(void)
{

  ADC_ChannelConfTypeDef sConfig;

    /**Configure the global features of the ADC (Clock, Resolution, Data Alignment and number of conversion)
    */
  hadc2.Instance = ADC2;
  hadc2.Init.ClockPrescaler = ADC_CLOCK_SYNC_PCLK_DIV4;
  hadc2.Init.Resolution = ADC_RESOLUTION_12B;
  hadc2.Init.ScanConvMode = DISABLE;
  hadc2.Init.ContinuousConvMode = DISABLE;
  hadc2.Init.DiscontinuousConvMode = DISABLE;
  hadc2.Init.ExternalTrigConvEdge = ADC_EXTERNALTRIGCONVEDGE_RISING;
  hadc2.Init.ExternalTrigConv = ADC_EXTERNALTRIGCONV_T2_TRGO;
  hadc2.Init.DataAlign = ADC_DATAALIGN_RIGHT;
  hadc2.Init.NbrOfConversion = 1;
  hadc2.Init.DMAContinuousRequests = ENABLE;
  hadc2.Init.EOCSelection = ADC_EOC_SINGLE_CONV;
  if (HAL_ADC_Init(&hadc2) != HAL_OK)
  {
    Error_Handler();
  }

    /**Configure for the selected ADC regular channel its corresponding rank in the sequencer and its sample time.
    */
  sConfig.Channel = ADC_CHANNEL_1;
  sConfig.Rank = 1;
  sConfig.SamplingTime = ADC_SAMPLETIME_3CYCLES;
  if (HAL_ADC_ConfigChannel(&hadc2, &sConfig) != HAL_OK)
  {
    Error_Handler();
  }

}

/* ADC3 init function */
static void MX_ADC3_Init(void)
{

  ADC_ChannelConfTypeDef sConfig;

    /**Configure the global features of the ADC (Clock, Resolution, Data Alignment and number of conversion)
    */
  hadc3.Instance = ADC3;
  hadc3.Init.ClockPrescaler = ADC_CLOCK_SYNC_PCLK_DIV4;
  hadc3.Init.Resolution = ADC_RESOLUTION_12B;
  hadc3.Init.ScanConvMode = DISABLE;
  hadc3.Init.ContinuousConvMode = ENABLE;
  hadc3.Init.DiscontinuousConvMode = DISABLE;
  hadc3.Init.ExternalTrigConvEdge = ADC_EXTERNALTRIGCONVEDGE_NONE;
  hadc3.Init.DataAlign = ADC_DATAALIGN_RIGHT;
  hadc3.Init.NbrOfConversion = 1;
  hadc3.Init.DMAContinuousRequests = DISABLE;
  hadc3.Init.EOCSelection = ADC_EOC_SINGLE_CONV;
  if (HAL_ADC_Init(&hadc3) != HAL_OK)
  {
    Error_Handler();
  }

    /**Configure for the selected ADC regular channel its corresponding rank in the sequencer and its sample time.
    */
  sConfig.Channel = ADC_CHANNEL_2;
  sConfig.Rank = 1;
  sConfig.SamplingTime = ADC_SAMPLETIME_3CYCLES;
  if (HAL_ADC_ConfigChannel(&hadc3, &sConfig) != HAL_OK)
  {
    Error_Handler();
  }

}

/* CRC init function */
static void MX_CRC_Init(void)
{

  hcrc.Instance = CRC;
  if (HAL_CRC_Init(&hcrc) != HAL_OK)
  {
    Error_Handler();
  }

}

/* DAC init function */
static void MX_DAC_Init(void)
{

  DAC_ChannelConfTypeDef sConfig;

    /**DAC Initialization
    */
  hdac.Instance = DAC;
  if (HAL_DAC_Init(&hdac) != HAL_OK)
  {
    Error_Handler();
  }

    /**DAC channel OUT1 config
    */
  sConfig.DAC_Trigger = DAC_TRIGGER_NONE;
  sConfig.DAC_OutputBuffer = DAC_OUTPUTBUFFER_ENABLE;
  if (HAL_DAC_ConfigChannel(&hdac, &sConfig, DAC_CHANNEL_1) != HAL_OK)
  {
    Error_Handler();
  }

    /**DAC channel OUT2 config
    */
  if (HAL_DAC_ConfigChannel(&hdac, &sConfig, DAC_CHANNEL_2) != HAL_OK)
  {
    Error_Handler();
  }

}

/* RTC init function */
static void MX_RTC_Init(void)
{

  RTC_TimeTypeDef sTime;
  RTC_DateTypeDef sDate;
  RTC_AlarmTypeDef sAlarm;

    /**Initialize RTC Only
    */
  hrtc.Instance = RTC;
  hrtc.Init.HourFormat = RTC_HOURFORMAT_24;
  hrtc.Init.AsynchPrediv = 127;
  hrtc.Init.SynchPrediv = 255;
  hrtc.Init.OutPut = RTC_OUTPUT_DISABLE;
  hrtc.Init.OutPutPolarity = RTC_OUTPUT_POLARITY_HIGH;
  hrtc.Init.OutPutType = RTC_OUTPUT_TYPE_OPENDRAIN;
  if (HAL_RTC_Init(&hrtc) != HAL_OK)
  {
    Error_Handler();
  }

    /**Initialize RTC and set the Time and Date
    */
  sTime.Hours = 0x0;
  sTime.Minutes = 0x0;
  sTime.Seconds = 0x0;
  sTime.DayLightSaving = RTC_DAYLIGHTSAVING_NONE;
  sTime.StoreOperation = RTC_STOREOPERATION_RESET;
  if (HAL_RTC_SetTime(&hrtc, &sTime, RTC_FORMAT_BCD) != HAL_OK)
  {
    Error_Handler();
  }

  sDate.WeekDay = RTC_WEEKDAY_MONDAY;
  sDate.Month = RTC_MONTH_DECEMBER;
  sDate.Date = 0x1;
  sDate.Year = 0x16;

  if (HAL_RTC_SetDate(&hrtc, &sDate, RTC_FORMAT_BCD) != HAL_OK)
  {
    Error_Handler();
  }

    /**Enable the Alarm A
    */
  sAlarm.AlarmTime.Hours = 0x0;
  sAlarm.AlarmTime.Minutes = 0x0;
  sAlarm.AlarmTime.Seconds = 0x0;
  sAlarm.AlarmTime.SubSeconds = 0x0;
  sAlarm.AlarmTime.DayLightSaving = RTC_DAYLIGHTSAVING_NONE;
  sAlarm.AlarmTime.StoreOperation = RTC_STOREOPERATION_RESET;
  sAlarm.AlarmMask = RTC_ALARMMASK_NONE;
  sAlarm.AlarmSubSecondMask = RTC_ALARMSUBSECONDMASK_ALL;
  sAlarm.AlarmDateWeekDaySel = RTC_ALARMDATEWEEKDAYSEL_DATE;
  sAlarm.AlarmDateWeekDay = 0x1;
  sAlarm.Alarm = RTC_ALARM_A;
  if (HAL_RTC_SetAlarm(&hrtc, &sAlarm, RTC_FORMAT_BCD) != HAL_OK)
  {
    Error_Handler();
  }

}

/* SDIO init function */
static void MX_SDIO_SD_Init(void)
{

  hsd.Instance = SDIO;
  hsd.Init.ClockEdge = SDIO_CLOCK_EDGE_RISING;
  hsd.Init.ClockBypass = SDIO_CLOCK_BYPASS_DISABLE;
  hsd.Init.ClockPowerSave = SDIO_CLOCK_POWER_SAVE_DISABLE;
  hsd.Init.BusWide = SDIO_BUS_WIDE_1B;
  hsd.Init.HardwareFlowControl = SDIO_HARDWARE_FLOW_CONTROL_DISABLE;
  hsd.Init.ClockDiv = 2;

}

/* SPI1 init function */
static void MX_SPI1_Init(void)
{

  hspi1.Instance = SPI1;
  hspi1.Init.Mode = SPI_MODE_MASTER;
  hspi1.Init.Direction = SPI_DIRECTION_2LINES;
  hspi1.Init.DataSize = SPI_DATASIZE_8BIT;
  hspi1.Init.CLKPolarity = SPI_POLARITY_LOW;
  hspi1.Init.CLKPhase = SPI_PHASE_1EDGE;
  hspi1.Init.NSS = SPI_NSS_SOFT;
  hspi1.Init.BaudRatePrescaler = SPI_BAUDRATEPRESCALER_2;
  hspi1.Init.FirstBit = SPI_FIRSTBIT_MSB;
  hspi1.Init.TIMode = SPI_TIMODE_DISABLE;
  hspi1.Init.CRCCalculation = SPI_CRCCALCULATION_DISABLE;
  hspi1.Init.CRCPolynomial = 10;
  if (HAL_SPI_Init(&hspi1) != HAL_OK)
  {
    Error_Handler();
  }

}

/* TIM2 init function */
static void MX_TIM2_Init(void)
{

  TIM_ClockConfigTypeDef sClockSourceConfig;
  TIM_MasterConfigTypeDef sMasterConfig;

  htim2.Instance = TIM2;
  htim2.Init.Prescaler = 16800;
  htim2.Init.CounterMode = TIM_COUNTERMODE_UP;
  htim2.Init.Period = 10000;
  htim2.Init.ClockDivision = TIM_CLOCKDIVISION_DIV1;
  if (HAL_TIM_Base_Init(&htim2) != HAL_OK)
  {
    Error_Handler();
  }

  sClockSourceConfig.ClockSource = TIM_CLOCKSOURCE_INTERNAL;
  if (HAL_TIM_ConfigClockSource(&htim2, &sClockSourceConfig) != HAL_OK)
  {
    Error_Handler();
  }

  sMasterConfig.MasterOutputTrigger = TIM_TRGO_UPDATE;
  sMasterConfig.MasterSlaveMode = TIM_MASTERSLAVEMODE_DISABLE;
  if (HAL_TIMEx_MasterConfigSynchronization(&htim2, &sMasterConfig) != HAL_OK)
  {
    Error_Handler();
  }

}

/* TIM12 init function */
static void MX_TIM12_Init(void)
{

  TIM_ClockConfigTypeDef sClockSourceConfig;
  TIM_OC_InitTypeDef sConfigOC;

  htim12.Instance = TIM12;
  htim12.Init.Prescaler = 839;
  htim12.Init.CounterMode = TIM_COUNTERMODE_UP;
  htim12.Init.Period = 100;
  htim12.Init.ClockDivision = TIM_CLOCKDIVISION_DIV1;
  if (HAL_TIM_Base_Init(&htim12) != HAL_OK)
  {
    Error_Handler();
  }

  sClockSourceConfig.ClockSource = TIM_CLOCKSOURCE_INTERNAL;
  if (HAL_TIM_ConfigClockSource(&htim12, &sClockSourceConfig) != HAL_OK)
  {
    Error_Handler();
  }

  if (HAL_TIM_PWM_Init(&htim12) != HAL_OK)
  {
    Error_Handler();
  }

  sConfigOC.OCMode = TIM_OCMODE_PWM1;
  sConfigOC.Pulse = 50;
  sConfigOC.OCPolarity = TIM_OCPOLARITY_HIGH;
  sConfigOC.OCFastMode = TIM_OCFAST_DISABLE;
  if (HAL_TIM_PWM_ConfigChannel(&htim12, &sConfigOC, TIM_CHANNEL_2) != HAL_OK)
  {
    Error_Handler();
  }

  HAL_TIM_MspPostInit(&htim12);

}

/* USART1 init function */
static void MX_USART1_UART_Init(void)
{

  huart1.Instance = USART1;
  huart1.Init.BaudRate = 115200;
  huart1.Init.WordLength = UART_WORDLENGTH_8B;
  huart1.Init.StopBits = UART_STOPBITS_1;
  huart1.Init.Parity = UART_PARITY_NONE;
  huart1.Init.Mode = UART_MODE_TX_RX;
  huart1.Init.HwFlowCtl = UART_HWCONTROL_NONE;
  huart1.Init.OverSampling = UART_OVERSAMPLING_16;
  if (HAL_UART_Init(&huart1) != HAL_OK)
  {
    Error_Handler();
  }

}

static void MX_DMA_Init(void)
{
  /* DMA controller clock enable */
  __HAL_RCC_DMA2_CLK_ENABLE();

  /* DMA interrupt init */
  /* DMA2_Stream0_IRQn interrupt configuration */
  HAL_NVIC_SetPriority(DMA2_Stream0_IRQn, 0, 0);
  HAL_NVIC_EnableIRQ(DMA2_Stream0_IRQn);
  /* DMA2_Stream2_IRQn interrupt configuration */
  HAL_NVIC_SetPriority(DMA2_Stream2_IRQn, 0, 0);
  HAL_NVIC_EnableIRQ(DMA2_Stream2_IRQn);

}

/** Configure pins as
        * Analog
        * Input
        * Output
        * EVENT_OUT
        * EXTI
*/
static void MX_GPIO_Init(void)
{

  GPIO_InitTypeDef GPIO_InitStruct;

  /* GPIO Ports Clock Enable */
  __HAL_RCC_GPIOC_CLK_ENABLE();
  __HAL_RCC_GPIOH_CLK_ENABLE();
  __HAL_RCC_GPIOA_CLK_ENABLE();
  __HAL_RCC_GPIOB_CLK_ENABLE();
  __HAL_RCC_GPIOD_CLK_ENABLE();

  /*Configure GPIO pin : GPIO_SDIO_CD_Pin */
  GPIO_InitStruct.Pin = GPIO_SDIO_CD_Pin;
  GPIO_InitStruct.Mode = GPIO_MODE_INPUT;
  GPIO_InitStruct.Pull = GPIO_PULLUP;
  HAL_GPIO_Init(GPIO_SDIO_CD_GPIO_Port, &GPIO_InitStruct);

  /*Configure GPIO pins : GPIO_SPI_25DF_CS_Pin GPIO_SD_ONOFF_Pin */
  GPIO_InitStruct.Pin = GPIO_SPI_25DF_CS_Pin|GPIO_SD_ONOFF_Pin;
  GPIO_InitStruct.Mode = GPIO_MODE_OUTPUT_PP;
  GPIO_InitStruct.Pull = GPIO_NOPULL;
  GPIO_InitStruct.Speed = GPIO_SPEED_FREQ_VERY_HIGH;
  HAL_GPIO_Init(GPIOC, &GPIO_InitStruct);

  /*Configure GPIO pin : GPIO_WIFI_ONOFF_Pin */
  GPIO_InitStruct.Pin = GPIO_WIFI_ONOFF_Pin;
  GPIO_InitStruct.Mode = GPIO_MODE_OUTPUT_PP;
  GPIO_InitStruct.Pull = GPIO_NOPULL;
  GPIO_InitStruct.Speed = GPIO_SPEED_FREQ_VERY_HIGH;
  HAL_GPIO_Init(GPIO_WIFI_ONOFF_GPIO_Port, &GPIO_InitStruct);

  /*Configure GPIO pin Output Level */
  HAL_GPIO_WritePin(GPIOC, GPIO_SPI_25DF_CS_Pin|GPIO_SD_ONOFF_Pin, GPIO_PIN_SET);

  /*Configure GPIO pin Output Level */
  HAL_GPIO_WritePin(GPIO_WIFI_ONOFF_GPIO_Port, GPIO_WIFI_ONOFF_Pin, GPIO_PIN_RESET);

}

void Error_Handler(void)
{
  while(1)
  {
  }
}

/************************ (C) COPYRIGHT STMicroelectronics *****END OF FILE****/
